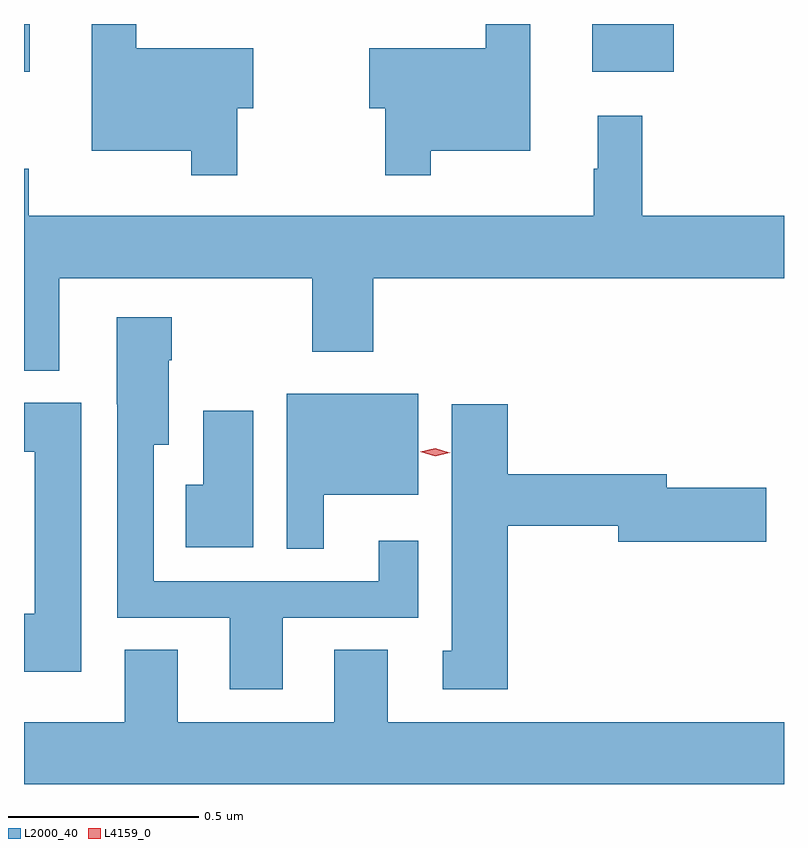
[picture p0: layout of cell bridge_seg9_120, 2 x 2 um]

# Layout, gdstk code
import gdstk
lib = gdstk.Library(unit=1e-6, precision=1e-09)
def R(c, l, rs):  # rectangles x0, y0, x1, y1
    for r in rs: c.add(gdstk.rectangle(r[:2], r[2:], *l))
def P(c, l, *ps):  # polygons
    for p in ps: c.add(gdstk.Polygon(p, *l))
L2000_40 = (2000, 40)
L4159_0 = (4159, 0)

bridge_seg9_120 = lib.new_cell('bridge_seg9_120')
R(bridge_seg9_120, L2000_40, [(600.01,1234.259,600.025,1234.385), (601.505,1234.259,601.72,1234.385)])
P(bridge_seg9_120, L2000_40, [(600.571,1234.163),(600.613,1234.163),(600.613,1234.321),(600.305,1234.321),(600.305,1234.385),(600.188,1234.385),(600.188,1234.052),(600.45,1234.052),(600.45,1233.987),(600.571,1233.987)],
  [(601.081,1234.052),(601.342,1234.052),(601.342,1234.385),(601.225,1234.385),(601.225,1234.321),(600.918,1234.321),(600.918,1234.163),(600.96,1234.163),(600.96,1233.987),(601.081,1233.987)],
  [(600.103,1233.716),(600.769,1233.716),(600.769,1233.522),(600.929,1233.522),(600.929,1233.716),(602.01,1233.716),(602.01,1233.88),(601.637,1233.88),(601.637,1234.144),(601.52,1234.144),(601.52,1234.004),(601.509,1234.004),(601.509,1233.88),(600.022,1233.88),(600.022,1234.004),(600.01,1234.004),(600.01,1233.473),(600.103,1233.473)],
  [(600.691,1232.823),(601.048,1232.823),(601.048,1233.025),(600.944,1233.025),(600.944,1232.919),(600.351,1232.919),(600.351,1233.278),(600.391,1233.278),(600.391,1233.5),(600.399,1233.5),(600.399,1233.613),(600.254,1233.613),(600.254,1233.384),(600.255,1233.384),(600.255,1232.823),(600.551,1232.823),(600.551,1232.634),(600.691,1232.634)],
  [(600.799,1233.146),(601.048,1233.146),(601.048,1233.412),(600.702,1233.412),(600.702,1233.004),(600.799,1233.004)],
  [(600.16,1233.388),(600.01,1233.388),(600.01,1233.26),(600.038,1233.26),(600.038,1232.833),(600.01,1232.833),(600.01,1232.681),(600.16,1232.681)],
  [(601.283,1233.064),(601.574,1233.064),(601.574,1233.022),(601.963,1233.022),(601.963,1233.164),(601.702,1233.164),(601.702,1233.2),(601.283,1233.2),(601.283,1233.385),(601.136,1233.385),(601.136,1232.736),(601.112,1232.736),(601.112,1232.634),(601.283,1232.634)],
  [(600.613,1233.367),(600.482,1233.367),(600.482,1233.173),(600.436,1233.173),(600.436,1233.008),(600.613,1233.008)],
  [(602.01,1232.548),(600.967,1232.548),(600.967,1232.738),(600.827,1232.738),(600.827,1232.548),(600.415,1232.548),(600.415,1232.738),(600.275,1232.738),(600.275,1232.548),(600.01,1232.548),(600.01,1232.385),(602.01,1232.385)])
P(bridge_seg9_120, L4159_0, [(601.092,1233.248),(601.053,1233.259),(601.053,1233.259),(601.053,1233.259),(601.092,1233.268),(601.131,1233.257),(601.132,1233.257),(601.131,1233.257)])

lib.write_gds('bridge_seg9_120.gds')
